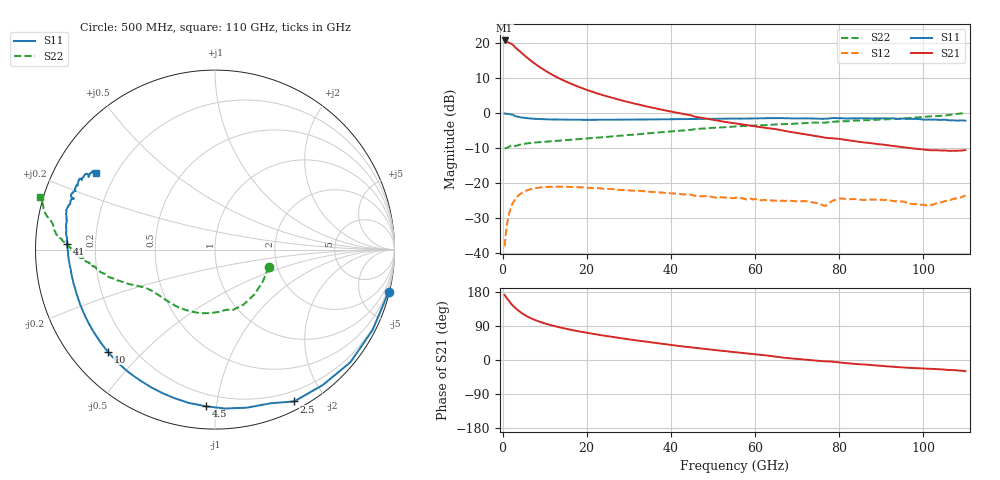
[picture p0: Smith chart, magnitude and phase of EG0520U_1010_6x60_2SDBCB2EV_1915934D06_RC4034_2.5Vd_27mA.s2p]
!File name = EG0520U_1010_6x60_2SDBCB2EV_1915934D06_RC4034_2.5Vd_27mA.s2p
!Base file name = EG0520U_1010_6x60_2SDBCB2EV_1915934D06_RC4034
!Date = 8/23/2019
!Time = 12:56 PM
!Test duration(min) = 0.15
!Test = S-Parameters
!MPTS version = 8.91.5
!State File = C:\Data\PNA\20190821205423\S-Parameters_2019-08-23.sta
!Cal File =
!ComputerName = CMPE-LAB-6
!Comments =
!Attenuation = 0
!Z0 = 50
!Input Power(dBm) = -13.00
!Device ID = EG0520U_1010_6x60_2SDBCB2EV
!Row = 40
!Column = 34
!Technology = QPHT09
!Lot/Wafer = 1915934D06
!Gate Size = 360
!Mask = EG0520
!Cal Standards = GaAs BCB
!Cal Kit = EG2306
!Job Number = 20190821205423
!Device Type = FET
!set_Vg(v) = -1.500
!set_Vd(v) = 2.500
!set_Vd(mA) = 27.000
!file_name = EG0520U_1010_6x60_2SDBCB2EV_1915934D06_RC4034_2.5Vd_27mA.s2p
!Vd(V) = 2.500
!Vd(mA) = 26.982
!Vg(V) = -0.559
!Vg(mA) = -0.002
# GHz  S  DB  R  50
!%	Freq(GHz)  s11(dB)  s11(deg)  s21(dB)  s21(deg)  s12(dB)  s12(deg)  s22(dB)  s22(deg)
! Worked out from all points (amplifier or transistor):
!   220 points, 500 MHz to 110 GHz, reference 50 ohm
!   highest |S21| = 20.8 dB at 500 MHz (marker M1)
!   |S21| within 3 dB of that: start of sweep to 4.012 GHz
!   unconditionally stable (mu >= 1): 37.36 GHz to 103.9 GHz
!   at 18.5 GHz: K = 0.48, MSG = 14.3 dB, |S12| = -21.1 dB
!   at 55.5 GHz: K = 1.37, MAG = 7.0 dB, |S12| = -24.1 dB
!   at 110 GHz: K = -1.12, MSG = 6.5 dB, |S12| = -23.4 dB
!   S11 on the Smith chart (normalised r, x): 500 MHz: 0.16, -8.36; 2.5 GHz: 0.09, -1.65; 4.5 GHz: 0.13, -0.94; 10 GHz: 0.11, -0.40; 41 GHz: 0.10, +0.02; 110 GHz: 0.13, +0.29
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0.5  -0.04 -13.6  20.85 171.7  -37.97 81.6  -10.05 -17.6
1  -0.12 -27.0  20.51 163.3  -32.16 74.4  -9.89 -33.6
2  -0.32 -51.5  19.94 149.2  -26.92 60.5  -9.24 -62.7
2.5  -0.41 -62.5  19.55 143.0  -25.52 54.9  -9.09 -74.0
3  -0.81 -70.0  18.89 138.0  -24.66 50.6  -9.34 -79.0
3.5  -0.93 -78.7  18.39 132.9  -23.87 46.2  -9.16 -87.3
4.5  -1.17 -93.3  17.32 124.3  -22.81 38.6  -8.85 -101.0
5.5  -1.33 -105.1  16.28 117.3  -22.16 32.8  -8.66 -111.2
7  -1.50 -118.7  14.82 108.9  -21.58 26.0  -8.41 -122.0
8.5  -1.59 -128.6  13.52 102.3  -21.24 21.1  -8.26 -129.1
10  -1.67 -136.4  12.32 96.7  -21.07 16.9  -8.11 -134.6
11.5  -1.73 -142.7  11.26 91.9  -20.99 13.7  -7.99 -138.7
13.5  -1.78 -149.3  10.00 86.3  -20.96 10.2  -7.79 -142.7
19  -1.84 -161.4  7.17 73.9  -21.15 3.5  -7.28 -149.4
26.5  -1.81 -171.2  4.29 60.1  -21.68 -1.4  -6.53 -154.3
37  -1.71 -179.6  1.27 43.8  -22.51 -4.9  -5.47 -159.6
41  -1.66 177.7  0.30 38.2  -22.91 -5.7  -5.08 -161.8
55.5  -1.51 169.5  -2.88 20.5  -24.07 -7.3  -3.73 -168.9
73.5  -1.47 160.6  -6.27 -0.8  -25.42 -11.7  -2.65 -175.7
92  -1.45 152.3  -9.18 -17.2  -24.85 -22.1  -1.65 177.8
102  -1.80 149.5  -10.56 -23.4  -26.21 -20.1  -0.83 172.1
110  -2.09 147.1  -10.50 -29.5  -23.44 -21.0  0.15 163.1
